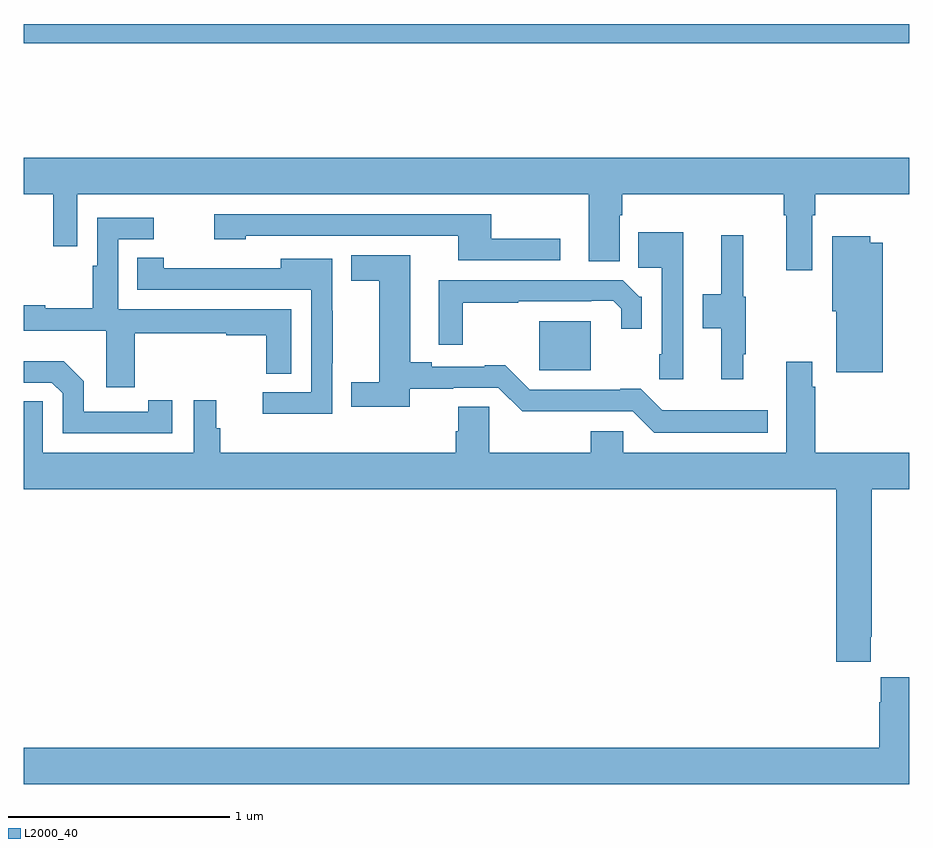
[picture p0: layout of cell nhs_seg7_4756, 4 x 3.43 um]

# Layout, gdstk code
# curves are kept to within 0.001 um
import gdstk
lib = gdstk.Library(unit=1e-6, precision=1e-09)
def R(c, l, rs):  # rectangles x0, y0, x1, y1
    for r in rs: c.add(gdstk.rectangle(r[:2], r[2:], *l))
def P(c, l, *ps):  # polygons
    for p in ps: c.add(gdstk.Polygon(p, *l))
L2000_40 = (2000, 40)

nhs_seg7_4756 = lib.new_cell('nhs_seg7_4756')
R(nhs_seg7_4756, L2000_40, [(411.329,1050.437,411.562,1050.658), (409,1051.912,413,1052)])
P(nhs_seg7_4756, L2000_40, [(409,1051.232),(409.134,1051.232),(409.134,1050.996),(409.242,1050.996),(409.242,1051.232),(411.551,1051.232),(411.551,1050.928),(411.691,1050.928),(411.691,1051.136),(411.704,1051.136),(411.704,1051.232),(412.433,1051.232),(412.433,1051.136),(412.445,1051.136),(412.445,1050.888),(412.561,1050.888),(412.561,1051.136),(412.574,1051.136),(412.574,1051.232),(413,1051.232),(413,1051.396),(409,1051.396)],
  [(411.424,1051.031),(411.111,1051.031),(411.111,1051.14),(409.86,1051.14),(409.86,1051.028),(410.004,1051.028),(410.004,1051.044),(410.963,1051.044),(410.963,1050.933),(411.424,1050.933)],
  [(409.501,1050.603),(409.915,1050.603),(409.915,1050.595),(410.096,1050.595),(410.096,1050.421),(410.208,1050.421),(410.208,1050.711),(409.428,1050.711),(409.428,1051.029),(409.588,1051.029),(409.588,1051.125),(409.332,1051.125),(409.332,1050.908),(409.312,1050.908),(409.312,1050.716),(409.098,1050.716),(409.098,1050.731),(409,1050.731),(409,1050.614),(409.373,1050.614),(409.373,1050.36),(409.501,1050.36)],
  [(411.978,1051.06),(411.776,1051.06),(411.776,1050.9),(411.882,1050.9),(411.882,1050.508),(411.87,1050.508),(411.87,1050.396),(411.978,1050.396)],
  [(412.25,1050.508),(412.261,1050.508),(412.261,1050.768),(412.25,1050.768),(412.25,1051.045),(412.151,1051.045),(412.151,1050.78),(412.067,1050.78),(412.067,1050.625),(412.151,1050.625),(412.151,1050.396),(412.25,1050.396)],
  [(412.879,1051.012),(412.823,1051.012),(412.823,1051.042),(412.652,1051.042),(412.652,1050.702),(412.67,1050.702),(412.67,1050.428),(412.879,1050.428)],
  [(412.36,1050.256),(411.885,1050.255),(411.787,1050.353),(411.695,1050.353),(411.695,1050.348),(411.285,1050.348),(411.175,1050.458),(411.083,1050.458),(411.083,1050.453),(410.842,1050.453),(410.842,1050.473),(410.746,1050.473),(410.746,1050.955),(410.479,1050.955),(410.479,1050.841),(410.606,1050.841),(410.606,1050.383),(410.479,1050.383),(410.479,1050.272),(410.743,1050.272),(410.743,1050.352),(410.94,1050.352),(410.94,1050.357),(411.144,1050.357),(411.251,1050.251),(411.75,1050.252),(411.847,1050.155),(412.36,1050.155)],
  [(410.394,1050.469),(410.396,1050.469),(410.396,1050.704),(410.394,1050.704),(410.394,1050.94),(410.162,1050.94),(410.162,1050.898),(409.632,1050.898),(409.632,1050.944),(409.513,1050.944),(409.513,1050.801),(410.298,1050.801),(410.298,1050.336),(410.079,1050.336),(410.079,1050.239),(410.394,1050.239)],
  [(410.983,1050.742),(411.233,1050.742),(411.233,1050.747),(411.563,1050.747),(411.563,1050.75),(411.662,1050.75),(411.698,1050.714),(411.698,1050.624),(411.792,1050.624),(411.792,1050.768),(411.781,1050.768),(411.706,1050.843),(410.874,1050.843),(410.874,1050.552),(410.983,1050.552)],
  [(409.672,1050.301),(409.562,1050.301),(409.562,1050.249),(409.272,1050.249),(409.272,1050.387),(409.181,1050.478),(409,1050.478),(409,1050.381),(409.128,1050.381),(409.176,1050.333),(409.176,1050.153),(409.672,1050.153)],
  [(412.825,1049.233),(412.83,1049.233),(412.83,1049.9),(413,1049.9),(413,1050.064),(412.574,1050.064),(412.574,1050.362),(412.561,1050.362),(412.561,1050.475),(412.445,1050.475),(412.445,1050.064),(411.708,1050.064),(411.708,1050.162),(411.562,1050.162),(411.562,1050.064),(411.102,1050.064),(411.102,1050.272),(410.963,1050.272),(410.963,1050.162),(410.951,1050.162),(410.951,1050.064),(409.888,1050.064),(409.888,1050.174),(409.87,1050.174),(409.87,1050.301),(409.769,1050.301),(409.769,1050.064),(409.086,1050.064),(409.086,1050.296),(409,1050.296),(409,1049.9),(412.67,1049.9),(412.67,1049.121),(412.825,1049.121)],
  [(413,1049.05),(412.871,1049.05),(412.871,1048.937),(412.865,1048.937),(412.865,1048.732),(409,1048.732),(409,1048.568),(413,1048.568)])

lib.write_gds('nhs_seg7_4756.gds')
